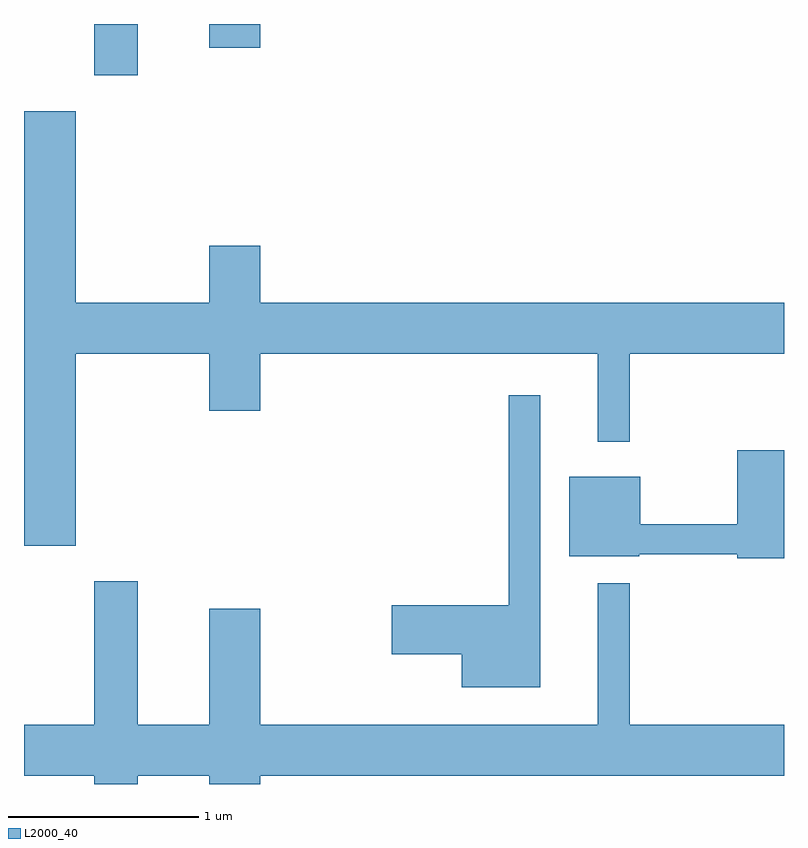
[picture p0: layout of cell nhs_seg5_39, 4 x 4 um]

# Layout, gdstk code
import gdstk
lib = gdstk.Library(unit=1e-6, precision=1e-09)
def R(c, l, rs):  # rectangles x0, y0, x1, y1
    for r in rs: c.add(gdstk.rectangle(r[:2], r[2:], *l))
def P(c, l, *ps):  # polygons
    for p in ps: c.add(gdstk.Polygon(p, *l))
L2000_40 = (2000, 40)

nhs_seg5_39 = lib.new_cell('nhs_seg5_39')
R(nhs_seg5_39, L2000_40, [(185.981,1473.801,186.209,1474.072), (186.586,1473.946,186.854,1474.072)])
P(nhs_seg5_39, L2000_40, [(185.884,1472.336),(186.586,1472.336),(186.586,1472.036),(186.854,1472.036),(186.854,1472.336),(188.631,1472.336),(188.631,1471.873),(188.799,1471.873),(188.799,1472.336),(189.611,1472.336),(189.611,1472.604),(186.854,1472.604),(186.854,1472.904),(186.586,1472.904),(186.586,1472.604),(185.884,1472.604),(185.884,1473.614),(185.611,1473.614),(185.611,1471.326),(185.884,1471.326)],
  [(188.329,1472.118),(188.161,1472.118),(188.161,1471.014),(187.546,1471.014),(187.546,1470.756),(187.916,1470.756),(187.916,1470.581),(188.329,1470.581)],
  [(189.611,1471.829),(189.366,1471.829),(189.366,1471.439),(188.854,1471.439),(188.854,1471.689),(188.481,1471.689),(188.481,1471.271),(188.85,1471.271),(188.85,1471.281),(189.366,1471.281),(189.366,1471.261),(189.611,1471.261)],
  [(186.209,1470.116),(186.586,1470.116),(186.586,1470.072),(186.854,1470.072),(186.854,1470.116),(189.611,1470.116),(189.611,1470.384),(188.799,1470.384),(188.799,1471.128),(188.631,1471.128),(188.631,1470.384),(186.854,1470.384),(186.854,1470.994),(186.586,1470.994),(186.586,1470.384),(186.209,1470.384),(186.209,1471.139),(185.981,1471.139),(185.981,1470.384),(185.611,1470.384),(185.611,1470.116),(185.981,1470.116),(185.981,1470.072),(186.209,1470.072)])

lib.write_gds('nhs_seg5_39.gds')
